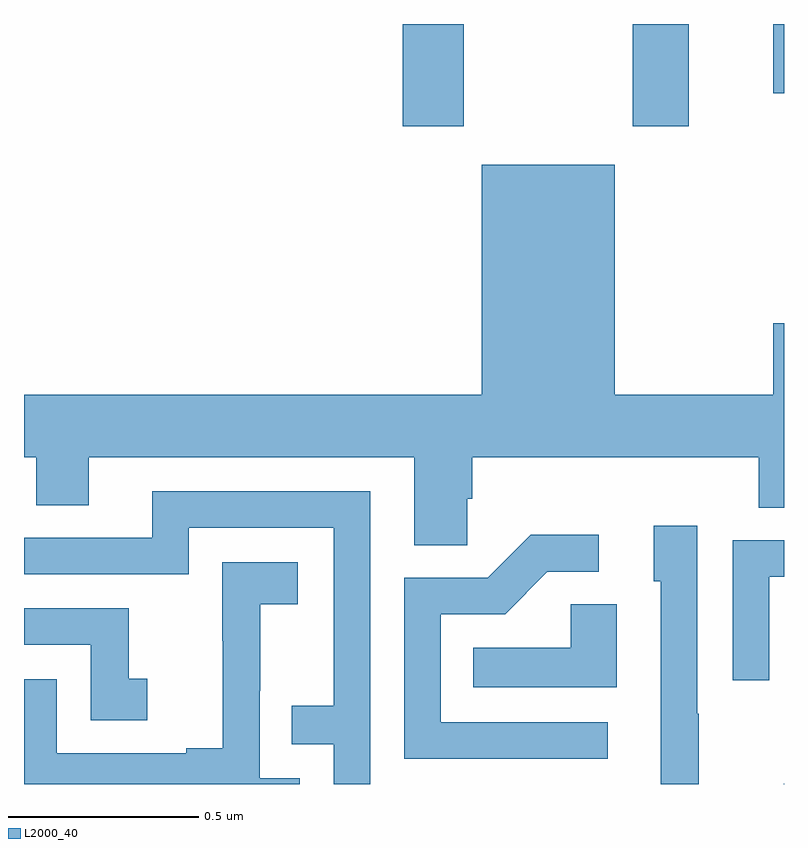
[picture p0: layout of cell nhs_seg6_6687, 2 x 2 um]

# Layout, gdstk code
import gdstk
lib = gdstk.Library(unit=1e-6, precision=1e-09)
def R(c, l, rs):  # rectangles x0, y0, x1, y1
    for r in rs: c.add(gdstk.rectangle(r[:2], r[2:], *l))
def P(c, l, *ps):  # polygons
    for p in ps: c.add(gdstk.Polygon(p, *l))
L2000_40 = (2000, 40)

nhs_seg6_6687 = lib.new_cell('nhs_seg6_6687')
R(nhs_seg6_6687, L2000_40, [(200.999,922.5,201,922.501), (199.997,924.231,200.157,924.5), (200.602,924.231,200.749,924.5), (200.972,924.318,201,924.5)])
P(nhs_seg6_6687, L2000_40, [(200.166,923.251),(200.18,923.251),(200.18,923.36),(200.933,923.36),(200.933,923.227),(201,923.227),(201,923.713),(200.972,923.713),(200.972,923.524),(200.554,923.524),(200.554,924.13),(200.204,924.13),(200.204,923.524),(199,923.524),(199,923.36),(199.032,923.36),(199.032,923.233),(199.171,923.233),(199.171,923.36),(200.027,923.36),(200.027,923.128),(200.166,923.128)],
  [(199.911,923.271),(199.337,923.271),(199.337,923.148),(199,923.148),(199,923.052),(199.434,923.052),(199.434,923.175),(199.815,923.175),(199.815,922.706),(199.705,922.706),(199.705,922.605),(199.815,922.605),(199.815,922.5),(199.911,922.5)],
  [(200.775,922.685),(200.772,922.685),(200.772,923.179),(200.657,923.179),(200.657,923.034),(200.676,923.034),(200.676,922.5),(200.775,922.5)],
  [(200.536,922.662),(200.097,922.662),(200.097,922.947),(200.266,922.947),(200.377,923.058),(200.512,923.058),(200.512,923.156),(200.333,923.156),(200.22,923.043),(200.001,923.043),(200.001,922.566),(200.536,922.566)],
  [(200.961,923.046),(201,923.046),(201,923.142),(200.865,923.142),(200.865,922.773),(200.961,922.773)],
  [(199.725,922.515),(199.62,922.515),(199.62,922.745),(199.622,922.745),(199.622,922.973),(199.72,922.973),(199.72,923.083),(199.522,923.083),(199.522,922.877),(199.523,922.877),(199.523,922.594),(199.427,922.594),(199.427,922.581),(199.086,922.581),(199.086,922.776),(199,922.776),(199,922.5),(199.725,922.5)],
  [(200.56,922.973),(200.439,922.973),(200.439,922.858),(200.182,922.858),(200.182,922.754),(200.56,922.754)],
  [(199.324,922.777),(199.275,922.777),(199.275,922.962),(199,922.962),(199,922.866),(199.176,922.866),(199.176,922.668),(199.324,922.668)])

lib.write_gds('nhs_seg6_6687.gds')
